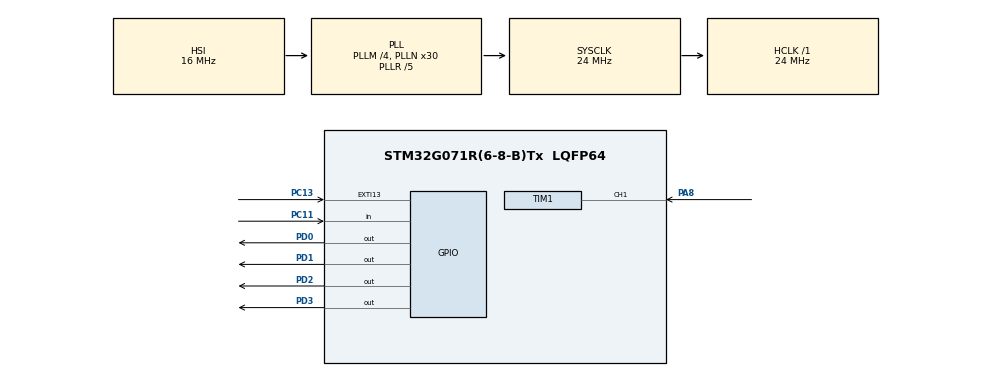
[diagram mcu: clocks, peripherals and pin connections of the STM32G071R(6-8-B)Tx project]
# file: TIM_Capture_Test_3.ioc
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Mcu.Family=STM32G0
Mcu.Name=STM32G071R(6-8-B)Tx
Mcu.Package=LQFP64
NVIC.EXTI4_15_IRQn=true\:0\:0\:false\:false\:true\:true\:true
NVIC.TIM1_CC_IRQn=true\:0\:0\:false\:false\:true\:true\:true
PA8.Signal=S_TIM1_CH1
PC11.Signal=GPIO_Input
PC13.GPIO_ModeDefaultEXTI=GPIO_MODE_IT_FALLING
PC13.Signal=GPXTI13
PD0.Signal=GPIO_Output
PD1.Signal=GPIO_Output
PD2.Signal=GPIO_Output
PD3.Signal=GPIO_Output
ProjectManager.HeapSize=0x200
ProjectManager.StackSize=0x400
ProjectManager.TargetToolchain=MDK-ARM V5.27
RCC.ADCFreq_Value=24000000
RCC.AHBFreq_Value=24000000
RCC.CodegenConfigPeriph=false
RCC.CortexFreq_Value=24000000
RCC.EXTERNAL_CLOCK_VALUE=48000
RCC.HCLKFreq_Value=24000000
RCC.HSE_VALUE=8000000
RCC.HSI_VALUE=16000000
RCC.LSE_VALUE=32768
RCC.PLLM=RCC_PLLM_DIV4
RCC.PLLN=30
RCC.PLLP=RCC_PLLP_DIV10
RCC.PLLQ=RCC_PLLQ_DIV5
RCC.PLLR=RCC_PLLR_DIV5
RCC.SYSCLKFreq_VALUE=24000000
RCC.SYSCLKSource=RCC_SYSCLKSOURCE_PLLCLK
RCC.VCOOutputFreq_Value=120000000
SH.S_TIM1_CH1.0=TIM1_CH1,Input_Capture1_from_TI1
TIM1.Channel-Input_Capture1_from_TI1=TIM_CHANNEL_1
TIM1.Period=0xFFFF
TIM1.Prescaler=4095
VP_SYS_VS_DBSignals.Mode=DisableDeadBatterySignals
board=custom

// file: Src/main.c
#include "main.h"
TIM_HandleTypeDef htim1;
void SystemClock_Config(void);
static void MX_GPIO_Init(void);
static void MX_TIM1_Init(void);

#include "stdio.h"
unsigned char Step_table[]={0x08,0x04,0x02,0x01};
int time=4;
int mode=0;
char fangxiang[5];

uint32_t uwIC2Value1 = 0;			//触发捕获的第一个计数值
uint32_t uwIC2Value2 = 0;			//触发捕获的第二个计数值
uint32_t uwDiffCapture = 0;		//触发捕获的时间差
uint16_t uhCaptureIndex = 0;	//捕获指标：标明第一次捕获还是第二次捕获
double uwFrequency = 0;				//频率值(转速)

ITStatus EXTI_GetITStatus(uint32_t EXTI_Line)
{
    ITStatus bitstatus = RESET; //初始位状态 0
    uint32_t enablestatus = 0;  //初始使能状态 0
    /* 检查参数 */
    assert_param(IS_GET_EXTI_LINE(EXTI_Line));
    enablestatus =  EXTI->IMR1 & EXTI_Line;
    if (((EXTI->FPR1 & EXTI_Line) != (uint32_t)RESET) && (enablestatus != (uint32_t)RESET))
		      bitstatus = SET;
    else
        bitstatus = RESET;
    return bitstatus;
}

void EXTI_ClearITPendingBit(uint32_t EXTI_Line)
{
  /* 检查参数 */
  assert_param(IS_EXTI_LINE(EXTI_Line));
  EXTI->FPR1 = EXTI_Line;
}

int main(void)
{
  HAL_Init();
  SystemClock_Config();
  MX_GPIO_Init();
  MX_TIM1_Init();

  if(HAL_TIM_IC_Start_IT(&htim1, TIM_CHANNEL_1) != HAL_OK)
    Error_Handler();  //打开失败
  while (1)
  {
		if(mode==0)
			for(int i=0;i<4;i++)
			{
				GPIOD->ODR=Step_table[i];
				HAL_Delay(time);
			}
		else
			for(int i=0;i<4;i++)
			{
				GPIOD->ODR=Step_table[3-i];
				HAL_Delay(time);
			}
  }
}

void SystemClock_Config(void)
{
  RCC_OscInitTypeDef RCC_OscInitStruct = {0};
  RCC_ClkInitTypeDef RCC_ClkInitStruct = {0};

  /** Initializes the RCC Oscillators according to the specified parameters
  * in the RCC_OscInitTypeDef structure.
  */
  RCC_OscInitStruct.OscillatorType = RCC_OSCILLATORTYPE_HSI;
  RCC_OscInitStruct.HSIState = RCC_HSI_ON;
  RCC_OscInitStruct.HSIDiv = RCC_HSI_DIV1;
  RCC_OscInitStruct.HSICalibrationValue = RCC_HSICALIBRATION_DEFAULT;
  RCC_OscInitStruct.PLL.PLLState = RCC_PLL_ON;
  RCC_OscInitStruct.PLL.PLLSource = RCC_PLLSOURCE_HSI;
  RCC_OscInitStruct.PLL.PLLM = RCC_PLLM_DIV4;
  RCC_OscInitStruct.PLL.PLLN = 30;
  RCC_OscInitStruct.PLL.PLLP = RCC_PLLP_DIV10;
  RCC_OscInitStruct.PLL.PLLQ = RCC_PLLQ_DIV5;
  RCC_OscInitStruct.PLL.PLLR = RCC_PLLR_DIV5;
  if (HAL_RCC_OscConfig(&RCC_OscInitStruct) != HAL_OK)
  {
    Error_Handler();
  }
  /** Initializes the CPU, AHB and APB buses clocks
  */
  RCC_ClkInitStruct.ClockType = RCC_CLOCKTYPE_HCLK|RCC_CLOCKTYPE_SYSCLK
                              |RCC_CLOCKTYPE_PCLK1;
  RCC_ClkInitStruct.SYSCLKSource = RCC_SYSCLKSOURCE_PLLCLK;
  RCC_ClkInitStruct.AHBCLKDivider = RCC_SYSCLK_DIV1;
  RCC_ClkInitStruct.APB1CLKDivider = RCC_HCLK_DIV1;

  if (HAL_RCC_ClockConfig(&RCC_ClkInitStruct, FLASH_LATENCY_0) != HAL_OK)
  {
    Error_Handler();
  }
}

static void MX_TIM1_Init(void)
{

  TIM_MasterConfigTypeDef sMasterConfig = {0};
  TIM_IC_InitTypeDef sConfigIC = {0};
  TIM_BreakDeadTimeConfigTypeDef sBreakDeadTimeConfig = {0};

  htim1.Instance = TIM1;
  htim1.Init.Prescaler = 4095;
  htim1.Init.CounterMode = TIM_COUNTERMODE_UP;
  htim1.Init.Period = 0xFFFF;
  htim1.Init.ClockDivision = TIM_CLOCKDIVISION_DIV1;
  htim1.Init.RepetitionCounter = 0;
  htim1.Init.AutoReloadPreload = TIM_AUTORELOAD_PRELOAD_DISABLE;
  if (HAL_TIM_IC_Init(&htim1) != HAL_OK)
  {
    Error_Handler();
  }
  sMasterConfig.MasterOutputTrigger = TIM_TRGO_RESET;
  sMasterConfig.MasterOutputTrigger2 = TIM_TRGO2_RESET;
  sMasterConfig.MasterSlaveMode = TIM_MASTERSLAVEMODE_DISABLE;
  if (HAL_TIMEx_MasterConfigSynchronization(&htim1, &sMasterConfig) != HAL_OK)
  {
    Error_Handler();
  }
  sConfigIC.ICPolarity = TIM_INPUTCHANNELPOLARITY_RISING;
  sConfigIC.ICSelection = TIM_ICSELECTION_DIRECTTI;
  sConfigIC.ICPrescaler = TIM_ICPSC_DIV1;
  sConfigIC.ICFilter = 0;
  if (HAL_TIM_IC_ConfigChannel(&htim1, &sConfigIC, TIM_CHANNEL_1) != HAL_OK)
  {
    Error_Handler();
  }
  sBreakDeadTimeConfig.BreakAFMode = TIM_BREAK_AFMODE_INPUT;
  sBreakDeadTimeConfig.Break2AFMode = TIM_BREAK_AFMODE_INPUT;
  if (HAL_TIMEx_ConfigBreakDeadTime(&htim1, &sBreakDeadTimeConfig) != HAL_OK)
  {
    Error_Handler();
  }

}

static void MX_GPIO_Init(void)
{
  GPIO_InitTypeDef GPIO_InitStruct = {0};

  /* GPIO Ports Clock Enable */
  __HAL_RCC_GPIOC_CLK_ENABLE();
  __HAL_RCC_GPIOA_CLK_ENABLE();
  __HAL_RCC_GPIOD_CLK_ENABLE();

  /*Configure GPIO pin Output Level */
  HAL_GPIO_WritePin(GPIOD, GPIO_PIN_0|GPIO_PIN_1|GPIO_PIN_2|GPIO_PIN_3, GPIO_PIN_RESET);

  /*Configure GPIO pin : PC11 */
  GPIO_InitStruct.Pin = GPIO_PIN_11;
  GPIO_InitStruct.Mode = GPIO_MODE_INPUT;
  GPIO_InitStruct.Pull = GPIO_NOPULL;
  HAL_GPIO_Init(GPIOC, &GPIO_InitStruct);

  /*Configure GPIO pin : PC13 */
  GPIO_InitStruct.Pin = GPIO_PIN_13;
  GPIO_InitStruct.Mode = GPIO_MODE_IT_FALLING;
  GPIO_InitStruct.Pull = GPIO_NOPULL;
  HAL_GPIO_Init(GPIOC, &GPIO_InitStruct);

  /*Configure GPIO pins : PD0 PD1 PD2 PD3 */
  GPIO_InitStruct.Pin = GPIO_PIN_0|GPIO_PIN_1|GPIO_PIN_2|GPIO_PIN_3;
  GPIO_InitStruct.Mode = GPIO_MODE_OUTPUT_PP;
  GPIO_InitStruct.Pull = GPIO_NOPULL;
  GPIO_InitStruct.Speed = GPIO_SPEED_FREQ_LOW;
  HAL_GPIO_Init(GPIOD, &GPIO_InitStruct);

  /* EXTI interrupt init*/
  HAL_NVIC_SetPriority(EXTI4_15_IRQn, 0, 0);
  HAL_NVIC_EnableIRQ(EXTI4_15_IRQn);

}

/* USER CODE BEGIN 4 */
void EXTI4_15_IRQHandler(void)
{
	if (EXTI_GetITStatus(0x2000) != 0x00)  // 0x2000==EXTI_PIN_13 换方向换速度
  {
		EXTI_ClearITPendingBit(0x2000);  //Clear interrupt flag bit
		if((mode==0)&&(time>=14))
			mode++;
		else if((mode==1)&&(time<=6))
			mode=0;
		else if(mode==1)
			time=time-2;
		else if(mode==0)
			time=time+2;
  }
}

void HAL_TIM_IC_CaptureCallback(TIM_HandleTypeDef *htim)
{
  if (htim->Channel == HAL_TIM_ACTIVE_CHANNEL_1)
  {
    if(uhCaptureIndex == 0)		/* 第一次捕获 */
    {
      uwIC2Value1 = HAL_TIM_ReadCapturedValue(htim, TIM_CHANNEL_1);  /* 获取计数值 */
      uhCaptureIndex = 1;
    }

    else if(uhCaptureIndex == 1)      /* 第二次捕获 */
    {
      uwIC2Value2 = HAL_TIM_ReadCapturedValue(htim, TIM_CHANNEL_1);		/* 获取计数值 */
      if (uwIC2Value2 > uwIC2Value1)		/* 计算两次捕获计数器值之差 */
      {
        uwDiffCapture = (uwIC2Value2 - uwIC2Value1);
      }
      else if (uwIC2Value2 < uwIC2Value1)
      {
        /*0xFFFF 是最大的TIM1_CCRx寄存器值，转了一圈回来了Value2+max+1 - Value1 */
        uwDiffCapture = ((0xFFFF - uwIC2Value1) + uwIC2Value2) + 1;
      }
      else        /*如果捕获值相等,就代表超过了最高的频率测量值（计数器还没反应过来已经捕获两次了）*/
        Error_Handler();
      /* 频率计算: 在这个例子中，定时器1时钟源是APB1Clk */
      uwFrequency = HAL_RCC_GetPCLK1Freq() * 1.000 / uwDiffCapture  / 4096; //4096是定时器1分频值
      uhCaptureIndex = 0;
    }

		if(HAL_GPIO_ReadPin(GPIOC,GPIO_PIN_11)==1)
			strcpy(fangxiang, "Qian");
		else
			strcpy(fangxiang, "Hou ");
  }
}
/* USER CODE END 4 */

void Error_Handler(void)
{
  __disable_irq();
  while (1)
  {
  }
}

/************************ (C) COPYRIGHT STMicroelectronics *****END OF FILE****/
